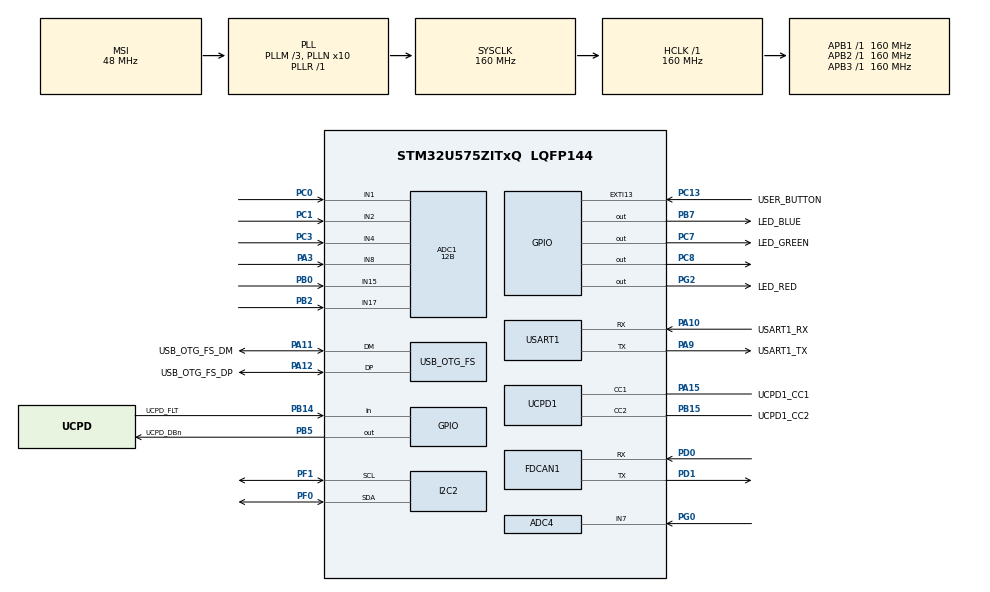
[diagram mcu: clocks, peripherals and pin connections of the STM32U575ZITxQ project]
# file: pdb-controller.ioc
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ADC1.EnableRegularConversion=DISABLE
ADC1.NbrOfConversion=1
ADC1.Resolution=ADC_RESOLUTION_12B
ADC1.master=1
ADC4.NbrOfConversion=1
ADC4.NbrOfConversionFlag=0
ADC4.SelectedChannel=ADC_CHANNEL_7
CORTEX_M33_NS.userName=CORTEX_M33
FDCAN1.AutoRetransmission=ENABLE
FDCAN1.CalculateBaudRateNominal=500000
FDCAN1.CalculateTimeBitNominal=2000
FDCAN1.CalculateTimeQuantumNominal=100.0
FDCAN1.DataPrescaler=1
FDCAN1.DataSyncJumpWidth=16
FDCAN1.DataTimeSeg1=23
FDCAN1.DataTimeSeg2=16
FDCAN1.ExtFiltersNbr=1
FDCAN1.FrameFormat=FDCAN_FRAME_FD_BRS
FDCAN1.NominalPrescaler=4
FDCAN1.NominalSyncJumpWidth=3
FDCAN1.NominalTimeSeg1=16
FDCAN1.NominalTimeSeg2=3
FDCAN1.StdFiltersNbr=1
I2C2.Timing=0x30909DEC
Mcu.Family=STM32U5
Mcu.Name=STM32U575ZITxQ
Mcu.Package=LQFP144
NVIC.FDCAN1_IT0_IRQn=true\:0\:0\:false\:false\:true\:true\:true\:true
NVIC.OTG_FS_IRQn=true\:0\:0\:false\:false\:true\:true\:true\:true
NVIC.PriorityGroup=NVIC_PRIORITYGROUP_3
NVIC.TIM7_IRQn=true\:0\:0\:false\:false\:true\:true\:true\:true
PA10.GPIO_Label=USART1_RX
PA10.GPIO_PuPd=GPIO_PULLDOWN
PA10.GPIO_Speed=GPIO_SPEED_FREQ_VERY_HIGH
PA10.Mode=Asynchronous
PA10.Signal=USART1_RX
PA11.GPIO_Label=USB_OTG_FS_DM
PA11.GPIO_Speed=GPIO_SPEED_FREQ_VERY_HIGH
PA11.Mode=Device_Only
PA11.Signal=USB_OTG_FS_DM
PA12.GPIO_Label=USB_OTG_FS_DP
PA12.GPIO_Speed=GPIO_SPEED_FREQ_VERY_HIGH
PA12.Mode=Device_Only
PA12.Signal=USB_OTG_FS_DP
PA13\ (JTMS/SWDIO).Mode=Trace_Asynchronous_SW
PA13\ (JTMS/SWDIO).Signal=DEBUG_JTMS-SWDIO
PA14\ (JTCK/SWCLK).Mode=Trace_Asynchronous_SW
PA14\ (JTCK/SWCLK).Signal=DEBUG_JTCK-SWCLK
PA15\ (JTDI).GPIO_Label=UCPD1_CC1
PA15\ (JTDI).Mode=Sink_AllSignals
PA15\ (JTDI).Signal=UCPD1_CC1
PA3.Mode=IN8-Single-Ended
PA3.Signal=ADC1_IN8
PA9.GPIO_Label=USART1_TX
PA9.GPIO_PuPd=GPIO_PULLDOWN
PA9.GPIO_Speed=GPIO_SPEED_FREQ_VERY_HIGH
PA9.Mode=Asynchronous
PA9.Signal=USART1_TX
PB0.Mode=IN15-Single-Ended
PB0.Signal=ADC1_IN15
PB14.GPIO_Label=UCPD_FLT
PB14.Signal=GPIO_Input
PB15.GPIO_Label=UCPD1_CC2
PB15.Mode=Sink_AllSignals
PB15.Signal=UCPD1_CC2
PB2.Mode=IN17-Single-Ended
PB2.Signal=ADC1_IN17
PB3\ (JTDO/TRACESWO).Mode=Trace_Asynchronous_SW
PB3\ (JTDO/TRACESWO).Signal=DEBUG_JTDO-SWO
PB5.GPIO_Label=UCPD_DBn
PB5.Signal=GPIO_Output
PB7.GPIO_Label=LED_BLUE
PB7.GPIO_ModeDefaultOutputPP=GPIO_MODE_OUTPUT_PP
PB7.GPIO_PuPd=GPIO_PULLUP
PB7.GPIO_Speed=GPIO_SPEED_FREQ_HIGH
PB7.Signal=GPIO_Output
PC0.Mode=IN1-Single-Ended
PC0.Signal=ADC1_IN1
PC1.Mode=IN2-Single-Ended
PC1.Signal=ADC1_IN2
PC13.GPIO_Label=USER_BUTTON
PC13.GPIO_ModeDefaultEXTI=GPIO_MODE_IT_FALLING
PC13.Signal=GPXTI13
PC14-OSC32_IN\ (PC14).Mode=LSE-External-Oscillator
PC14-OSC32_IN\ (PC14).Signal=RCC_OSC32_IN
PC15-OSC32_OUT\ (PC15).Mode=LSE-External-Oscillator
PC15-OSC32_OUT\ (PC15).Signal=RCC_OSC32_OUT
PC3.Mode=IN4-Single-Ended
PC3.Signal=ADC1_IN4
PC7.GPIO_Label=LED_GREEN
PC7.GPIO_PuPd=GPIO_PULLUP
PC7.GPIO_Speed=GPIO_SPEED_FREQ_HIGH
PC7.Signal=GPIO_Output
PC8.Signal=GPIO_Output
PD0.Mode=FDCAN_Activate
PD0.Signal=FDCAN1_RX
PD1.Mode=FDCAN_Activate
PD1.Signal=FDCAN1_TX
PF0.Mode=I2C
PF0.Signal=I2C2_SDA
PF1.Mode=I2C
PF1.Signal=I2C2_SCL
PG0.Mode=IN7
PG0.Signal=ADC4_IN7
PG2.GPIO_Label=LED_RED
PG2.GPIO_ModeDefaultOutputPP=GPIO_MODE_OUTPUT_PP
PG2.GPIO_PuPd=GPIO_PULLUP
PG2.GPIO_Speed=GPIO_SPEED_FREQ_HIGH
PG2.Signal=GPIO_Output
PWR.PowerMode=PWR_SMPS_SUPPLY
ProjectManager.HeapSize=0x200
ProjectManager.StackSize=0x400
ProjectManager.TargetToolchain=STM32CubeIDE
RCC.ADCFreq_Value=16000000
RCC.AHBFreq_Value=160000000
RCC.APB1Freq_Value=160000000
RCC.APB1TimFreq_Value=160000000
RCC.APB2Freq_Value=160000000
RCC.APB2TimFreq_Value=160000000
RCC.APB3Freq_Value=160000000
RCC.CortexFreq_Value=160000000
RCC.DACCLockSelectionVirtual=RCC_DAC1CLKSOURCE_LSI
RCC.EPOD_VALUE=48000000
RCC.HCLKFreq_Value=160000000
RCC.HSE_VALUE=16000000
RCC.HSI48_VALUE=48000000
RCC.HSI_VALUE=16000000
RCC.LSIDIV_VALUE=32000
RCC.MSIClockRange=RCC_MSIRANGE_0
RCC.MSI_VALUE=48000000
RCC.PLL1Q=4
RCC.PLL1R=1
RCC.PLLFRACN=0
RCC.PLLM=3
RCC.PLLN=10
RCC.SYSCLKFreq_VALUE=160000000
RCC.SYSCLKSource=RCC_SYSCLKSOURCE_PLLCLK
RCC.USBFreq_Value=48000000
RCC.VCOOutputFreq_Value=160000000
TIM7.PeriodNoDither=49999
TIM7.Prescaler=31999
USART1.VirtualMode-Asynchronous=VM_ASYNC
USB_OTG_FS.VirtualMode=Device_Only
VP_ADC1_Vref_Input.Mode=IN-Vrefint
VP_ICACHE_VS_ENABLE_ICACHE_MEMORY.Mode=Memoryregions
VP_ICACHE_VS_ICACHE.Mode=DirectMappedCache
VP_LPBAMQUEUE_VS_QUEUE.Mode=QUEUEMODE
VP_LPBAM_VS_SIG1.Mode=SmartRun
VP_LPBAM_VS_SIG4.Mode=LPDMA1
VP_MEMORYMAP_VS_MEMORYMAP.Mode=CurAppReg
VP_PWR_VS_DBSignals.Mode=DisableDeadBatterySignals
VP_PWR_VS_LPOM.Mode=PowerOptimisation
VP_PWR_VS_SECSignals.Mode=Security/Privilege
VP_PWR_Vdda.Mode=isolationVdda
VP_TIM7_VS_ClockSourceINT.Mode=Enable_Timer
board=NUCLEO-U575ZI-Q

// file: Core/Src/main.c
/* USER CODE BEGIN Header */
/**
  ******************************************************************************
  * @file           : main.c
  * @brief          : Main program body
  ******************************************************************************
  * @attention
  *
  * Copyright (c) 2025 STMicroelectronics.
  * All rights reserved.
  *
  * This software is licensed under terms that can be found in the LICENSE file
  * in the root directory of this software component.
  * If no LICENSE file comes with this software, it is provided AS-IS.
  *
  ******************************************************************************
  */
/* USER CODE END Header */
#include "main.h"

/* USER CODE BEGIN Includes */
#include <stdio.h>
#include <math.h>
#include <string.h>
#include "can.h"
/* USER CODE END Includes */

/* USER CODE BEGIN PTD */

// moving average struct
#define DELAY_LINE_SIZE 5
typedef struct {
    int16_t elements[DELAY_LINE_SIZE]; //circular buffer to store the most recent N readings
    uint8_t count;
    uint8_t  newestElement_idx;  //index of the newest element in the circular buffer
}delayLine;

typedef struct {
    ADC_HandleTypeDef *hadc;
    uint32_t channel;
} NTC_Config;

typedef struct {
	const char*label;
	int is_temp;
} ADC_Channel_Info ;

/* USER CODE END PTD */

/* USER CODE BEGIN PD */

#define NUM_SENSORS 11
#define VREF 3.3
#define ADC_RESOLUTION 4095.0
#define R_FIXED 10000.0
#define BETA 3950.0
#define T0 298.15 // 25°C in Kelvin
#define R0 10000.0 // Resistance at 25°C
#define temp_threshold 55.0
#define voltage_threshold 2.5
#define CAN_TX_TIME 1000 //in milliseconds
#define PDB_HEARTBEAT 0x130
/* USER CODE END PD */

ADC_HandleTypeDef hadc1;
ADC_HandleTypeDef hadc4;

FDCAN_HandleTypeDef hfdcan1;

I2C_HandleTypeDef hi2c2;

TIM_HandleTypeDef htim7;

UART_HandleTypeDef huart1;

PCD_HandleTypeDef hpcd_USB_OTG_FS;

/* USER CODE BEGIN PV */
NTC_Config ntc_sensors[NUM_SENSORS] = {
	{&hadc1, ADC_CHANNEL_8},   // PA_3 = ADC1_IN8 ADC Cell 2
	{&hadc1, ADC_CHANNEL_7},   // PA2 = ADC1_IN7 TEMP_PACK2
	{&hadc1, ADC_CHANNEL_4},  // PC3 = ADC1_IN4 Cell 3 ADC
	{&hadc1, ADC_CHANNEL_15},  // PB0 = ADC1_IN15 TEMP_PACKB/B
	{&hadc1, ADC_CHANNEL_2},  // PC1 = ADC1_IN2 TEMP_PACK 1 (T7 shares PC0 with T5, duplicate?)
	{&hadc1, ADC_CHANNEL_1},  //  PC0 = ADC1_IN1 ADC Cell 4
	{&hadc1, ADC_CHANNEL_17},  // PB_2 ADC1_IN17 ADC Cell 1
	{&hadc1, ADC_CHANNEL_6},   // PA1 = ADC1_IN2
	{&hadc1, ADC_CHANNEL_5},   // PA0 = ADC1_IN1
	{&hadc1, ADC_CHANNEL_16},   // PB1 = ADC1_IN16
	{&hadc4, ADC_CHANNEL_7},   // PG0 = ADC3_IN8 (ADC4)
};

ADC_Channel_Info channel_info[7] = {
    {"VC2_Cumulative",0},
    {"TempPack2",1},
    {"VC3_Cumulative",0},
    {"TempPack B/B",1},
    {"TempPack1",1},
    {"VC4_Cumulative",0},
    {"VC1_Cumulative",0},
};

volatile int restart_requested = 0;
/* USER CODE END PV */

void SystemClock_Config(void);
static void SystemPower_Config(void);
static void MX_GPIO_Init(void);
static void MX_ADC1_Init(void);
static void MX_ICACHE_Init(void);
static void MX_UCPD1_Init(void);
static void MX_USART1_UART_Init(void);
static void MX_USB_OTG_FS_PCD_Init(void);
static void MX_ADC4_Init(void);
static void MX_FDCAN1_Init(void);
static void MX_I2C2_Init(void);
static void MX_TIM7_Init(void);
/* USER CODE BEGIN PFP */

// moving avaerage function prototypes
void delayLine_Init(delayLine *dl);
void delayLine_addElement(delayLine *dl, int16_t newValue);
int16_t delayLine_MovingAverage(delayLine *dl, int32_t *accumulator, int16_t x);

#ifdef __GNUC__
/* With GCC/RAISONANCE, small printf (option LD Linker->Libraries->Small printf
   set to 'Yes') calls __io_putchar() */
#define PUTCHAR_PROTOTYPE int __io_putchar(int ch)
#else
#define PUTCHAR_PROTOTYPE int fputc(int ch, FILE *f)
#endif /* __GNUC__ */
/* USER CODE END PFP */

/* USER CODE BEGIN 0 */

static float ADC_Select_Channel(uint32_t channelNumber)
{
  ADC_ChannelConfTypeDef sConfig = {0};
  uint32_t raw;

  /**>RRE Configure ADC1 Channel */
  sConfig.Channel = (uint32_t)ntc_sensors[channelNumber - 1].channel;
  sConfig.Rank = ADC_REGULAR_RANK_1;
  sConfig.SamplingTime = ADC_SAMPLETIME_814CYCLES ;
  sConfig.SingleDiff = ADC_SINGLE_ENDED;
  sConfig.OffsetNumber = ADC_OFFSET_NONE;
  sConfig.Offset = 0;
  if (HAL_ADC_ConfigChannel(ntc_sensors[channelNumber - 1].hadc, &sConfig) != HAL_OK)
  {
    Error_Handler();
  }

  /**>RRE Perform Conversion */
  HAL_ADC_Start(ntc_sensors[channelNumber - 1].hadc);
  HAL_ADC_PollForConversion(ntc_sensors[channelNumber - 1].hadc, 1000);
  raw = HAL_ADC_GetValue(ntc_sensors[channelNumber - 1].hadc);
  HAL_ADC_Stop(ntc_sensors[channelNumber - 1].hadc);

      float v = (raw / ADC_RESOLUTION) * VREF;
      float r_ntc = (v * R_FIXED) / (VREF - v);
      float tempK = 1.0 / ((log(r_ntc / R0) / BETA) + (1.0 / T0));

      //printf("Raw: %lu, V: %.2fV, R_NTC: %.1fΩ, Temp: %.2f°C\r\n", raw, v, r_ntc, tempK);
      //return tempK - 273.15;
      if ((channelNumber == 2)||(channelNumber == 4)||(channelNumber == 5)) return tempK - 273.15; // 2 and 4 are TEMP values not ADC values
      else return v;
}

// moving average functions
void delayLine_Init(delayLine *dl)
{
    dl->newestElement_idx = 0;
    dl->count = 0;

    for (int i = 0; i < DELAY_LINE_SIZE; i++) {
        dl->elements[i] = 0;
    }
}

/*
 1-Find the slot that will be overwritten.
 2-Subtract its old value from the sum.
 3-Write the new value into that same slot.
 */

void delayLine_addElement(delayLine *dl, int16_t newValue)
{
    dl->newestElement_idx++;
    dl->newestElement_idx = dl->newestElement_idx % (DELAY_LINE_SIZE);
    dl->elements[dl->newestElement_idx] = newValue;
}

int16_t delayLine_MovingAverage(delayLine *dl, int32_t *accumulator, int16_t x)
{
    int oldest_idx = (dl->newestElement_idx + 1) % (DELAY_LINE_SIZE); // overflow check

    if (dl->count == DELAY_LINE_SIZE) {
        *accumulator -= dl->elements[oldest_idx];
    } else {
        dl->count++;
    }

    *accumulator += x;
    delayLine_addElement(dl, x);

    return *accumulator / dl->count;
}

/*
 * CUSTOM CAN FUNCTIONS
 */
// only thing different is the filters, need access to FIFO1 callback for one std ID

void CAN_Init_PDB(FDCAN_HandleTypeDef *hfdcan1)
{
	// Set frame 0x202 to be filtered to FIFO1
    FDCAN_FilterTypeDef f = {0};
    f.IdType       = FDCAN_STANDARD_ID;
    f.FilterIndex  = 0;
    f.FilterType   = FDCAN_FILTER_MASK;      // exact match using mask
    f.FilterConfig = FDCAN_FILTER_TO_RXFIFO1;
    f.FilterID1    = 0x202;                  // Only can frame sent to PDB
    f.FilterID2    = 0x7FF;                  // mask: match all 11 bits exactly

    if (HAL_FDCAN_ConfigFilter(hfdcan1, &f) != HAL_OK)
    {
        Error_Handler();
    }
    // Set extended IDs to be rejected (unused)
    FDCAN_FilterTypeDef fe = {0};
    fe.IdType       = FDCAN_EXTENDED_ID;
    fe.FilterIndex  = 0;
    fe.FilterType   = FDCAN_FILTER_RANGE_NO_EIDM;
    fe.FilterConfig = FDCAN_FILTER_REJECT;
    fe.FilterID1    = 0x00000000;
    fe.FilterID2    = 0x1FFFFFFF;

    if (HAL_FDCAN_ConfigFilter(hfdcan1, &fe) != HAL_OK)
    {
        Error_Handler();
    }
    /* Global filter: send non-matching frames to FIFO0 (same as global can lib) */
    if (HAL_FDCAN_ConfigGlobalFilter(hfdcan1, FDCAN_ACCEPT_IN_RX_FIFO0, FDCAN_ACCEPT_IN_RX_FIFO0, FDCAN_FILTER_REMOTE, FDCAN_FILTER_REMOTE) != HAL_OK)
    {
        Error_Handler();
    }

    // Start FDCAN
    if (HAL_FDCAN_Start(hfdcan1) != HAL_OK)
    {
        Error_Handler();
    }
}

/*
 * Custom FIFO1 Callback
 */
// immediately handles shutdown/restart commands
void HAL_FDCAN_RxFifo1Callback(FDCAN_HandleTypeDef *hfdcan, uint32_t RxFifo1ITs)
{
    if ((RxFifo1ITs & FDCAN_IT_RX_FIFO1_NEW_MESSAGE) == 0U)
        return;

    FDCAN_RxHeaderTypeDef rxh;
    uint8_t tmp[64];
    memset(tmp, 0, sizeof(tmp));

    uint8_t power_off = 0xF;

    if (HAL_FDCAN_GetRxMessage(hfdcan, FDCAN_RX_FIFO1, &rxh, tmp) != HAL_OK) {
        Error_Handler();
    }

    // theoretically because of the filter, FIFO1 should only contain STD 0x202 (but check anyway)
    if ((rxh.IdType == FDCAN_STANDARD_ID) && (rxh.Identifier == 0x202))
    {
    	if (tmp[0] == 0x0A) // shutdown
    	{
    		// printf("Shutdown command was received\r\n");, removed cuz i feel like we doin to much in isr
    		// to frame 0x003, 0xF -> shutdown

    		// power off everything
    		if( CAN_Transmit( 0x003, FDCAN_STANDARD_ID, FDCAN_DLC_BYTES_8, &power_off, hfdcan) != HAL_OK ) {
    			Error_Handler();
    		}

    		//set PC_8 to low
    	    HAL_GPIO_WritePin(GPIOC, GPIO_PIN_8, GPIO_PIN_SET); //PC_8 is the boot pin (inverted logic)
    	    // printf("PC_8 Pulled Low \r\n");
    	}
    	else if (tmp[0] == 0x14) // restart after 20s
    	{
    		// printf("restart command was received\r\n");
    		restart_requested = 1;
    	}

    }
}

void HAL_FDCAN_TxBufferCompleteCallback(FDCAN_HandleTypeDef *hfdcan, uint32_t BufferIndexes)
{
    printf("Tx buffer complete. BufferIndexes: 0x%lX\r\n", BufferIndexes);
}

/* USER CODE END 0 */

int main(void)
{

  /* MCU Configuration--------------------------------------------------------*/

  /* Reset of all peripherals, Initializes the Flash interface and the Systick. */
  HAL_Init();

  /* Configure the System Power */
  SystemPower_Config();

  /* Configure the system clock */
  SystemClock_Config();

  /* Initialize all configured peripherals */
  MX_GPIO_Init();
  MX_ADC1_Init();
  MX_ICACHE_Init();
  MX_UCPD1_Init();
  MX_USART1_UART_Init();
  MX_USB_OTG_FS_PCD_Init();
  MX_ADC4_Init();
  MX_FDCAN1_Init();
  MX_I2C2_Init();
  MX_TIM7_Init();
  /* USER CODE BEGIN 2 */
	  delayLine adc_filters[7];
	  int32_t adc_accumulators[7] = {0};

	  for (int i = 0; i < 7; i++) {
		  delayLine_Init(&adc_filters[i]);
	  }
	  /*
	   * I2C Variable Declarations & ADC Initialization
	   */

	  uint8_t I2C_buf[12];

	  // Address of ADC device on current sense board
	  uint16_t ADC_ADDR1 = 0x18 << 1; // 0x18, if J1 disconnected - STARBOARD
	  uint16_t ADC_ADDR2 = 0x1F << 1; // 0x1F, if J1 connected - PORT

	  I2C_buf[0] = 0x08; //opcode for single register write
	  // I2C MODE setup
	  I2C_buf[1] = 0x1c; // MODE SELECT register address
	  I2C_buf[2] = 0x04; // selecting MANUAL MODE W/ AUTO SEQUENCING

//	  if( HAL_I2C_Master_Transmit(&hi2c2,ADC_ADDR1,I2C_buf,3,HAL_MAX_DELAY) != HAL_OK ) {
//		  Error_Handler();
//	  }
//	  if( HAL_I2C_Master_Transmit(&hi2c2,ADC_ADDR2,I2C_buf,3,HAL_MAX_DELAY) != HAL_OK ) {
//		  Error_Handler();
//	  }

	  // I2C START SEQUENCE Bit
	  I2C_buf[1] = 0x1E; // START SEQ register
	  I2C_buf[2] = 0b1; // bit starts first conversion

//	  if( HAL_I2C_Master_Transmit(&hi2c2,ADC_ADDR1,I2C_buf,3,HAL_MAX_DELAY) != HAL_OK ) {
//		  Error_Handler();
//	  }
//	  if( HAL_I2C_Master_Transmit(&hi2c2,ADC_ADDR2,I2C_buf,3,HAL_MAX_DELAY) != HAL_OK ) {
//		  Error_Handler();
//	  }

	/*
	 * CAN Initialization
	 */
	CAN_Init(&hfdcan1, PDB_HEARTBEAT);
	if( HAL_FDCAN_Stop(&hfdcan1) != HAL_OK ) {
		Error_Handler();
	}
  	CAN_Init_PDB(&hfdcan1); // call custom init code w diff filters

  	/*
  	 * Temperature Sense Variable Initialization
  	 */
  	int count = 0;
  	float adc_readings[7] = {0}; //store all adc readings here
  	float vc[4] = {0};
  	int vc_index=0 ;
  	uint16_t individual_voltages[4] = {0};
  	int temp_back = 1 ; //flag to break the infinite loop in case we are back on
  	int voltage_back = 1; //flag to break the infinite loop in case we are back on
  	float cell_voltage[4] = {0};

  /* USER CODE END 2 */

  /* Infinite loop */
  while (1)
  {

    /* USER CODE BEGIN 3 */

	  vc_index = 0; // reset the value of the index

	  HAL_Delay(100);//0.1 SECONDS AS OF NOW

	  /*
	   * Boot pin logic
	   */
	  if (restart_requested) {
		  HAL_GPIO_WritePin(GPIOC, GPIO_PIN_8, GPIO_PIN_SET); //turn pin off (inverted logic)
		  printf("PC_8 Pulled Low\r\n");
	      for (int sec = 20; sec > 0; sec--) {
	          printf("Restarting in %d seconds...\r\n", sec);
	          HAL_Delay(1000);
	      }

	      HAL_GPIO_WritePin(GPIOC, GPIO_PIN_8, GPIO_PIN_RESET); //turn pin back on (inverted logic)
	      printf("PC_8 Pulled High\r\n");

	      restart_requested = 0;
	  }

	  //comment out the transmission to figure out how to receive
	  // CHANGED TO INITIALIZE TO 0s
	  uint8_t TxData1[24] = {0}; //the array that we use to send CAN
	  int byte_index = 0;

	  /*
	   * ADC For-loop Start
	   */
	  for(int i = 1; i <= 7; i++) {
		  // read the raw adc value
		  float adc_raw = ADC_Select_Channel(i);

		  int16_t adc_scaled;

		  if (channel_info[i - 1].is_temp) {
		      adc_scaled = (int16_t)(adc_raw * 100);
		  }
		  else {
		      adc_scaled = (int16_t)(adc_raw * 1000);
		  }

		  // calculate the moving average
		  int16_t adc_avg_scaled = delayLine_MovingAverage(
		      &adc_filters[i - 1],
		      &adc_accumulators[i - 1],
		      adc_scaled
		  );

		  float adc;

		  if (channel_info[i - 1].is_temp) {
		      adc = adc_avg_scaled / 100.0f;
		  }
		  else {
		      adc = adc_avg_scaled / 1000.0f;
		  }

		  ADC_Channel_Info info = channel_info[i-1];
		  adc_readings[i-1] = adc; // store the ADC value

		  int16_t encoded_val;

		  // Check Temperature Reading
		  if (info.is_temp) {
			  encoded_val = (int16_t)(adc * 100);  //to get rid of the decimal places (this gives us 4 hex digits)

			  // If temp is too high, shut off system and poll until regular conditions, then reboot
			  if (adc >= temp_threshold ) {
				  printf("%s temperature too high! %.2f°C CANT: %d CANT: %X \r\n", info.label, adc ,encoded_val , encoded_val);

				  // toggle pin PC_8, shuts off the entire system
				  HAL_GPIO_WritePin(GPIOC, GPIO_PIN_8, GPIO_PIN_SET); //PC_8 is the boot pin
		          temp_back = 0;

		          while (temp_back == 0 ) {
		        	  for (int y=20 ; y > 0 ; y-- ) {
		        		  printf("checking the temp in %d seconds" , y);
		        		  HAL_Delay(1000);
		        	  }

		        	  // read the pin again
		        	  adc = ADC_Select_Channel(i);
		        	  ADC_Channel_Info info = channel_info[i-1];
		        	  adc_readings[i-1] = adc; // store the adc value

		        	  if (adc <= temp_threshold ) {
		        	  		temp_back = 1; // break out of loop and continue
		        	  		printf("%s is below threshold \r\n", info.label);
		        	  		HAL_GPIO_WritePin(GPIOC, GPIO_PIN_8, GPIO_PIN_RESET); //PC_8 power back on
		        	  }
		          }

		      }
			  else { // temperature normal
				  printf("%s: %.2f°C CANT: %d \r\n", info.label, adc , encoded_val );
		      }

		  }
		  // Check voltage (not temp) reading
		  else {
			  encoded_val = (int16_t)(adc*1000*5);  // scaling to get 4 clean hex digits

			  // voltage reading too low
			  if (adc*5 <= voltage_threshold ) {
				  printf("%s below the recommended range! %.2f CANV: %d CANV: %X \r\n", info.label , 5*adc, encoded_val, encoded_val);
		        }
			  // regular voltage reading
		      else {
		            printf("%s: %.2fV CANV: %d CANV: %X\r\n", info.label, 5*adc ,encoded_val, encoded_val);
		      }
		  }

		  /*
		   * Build VC array
		   */

		  // Build vc[] array only for your voltage channels (1,3,6,7)
		  if ((i == 1) || (i == 3) || (i == 6) || (i == 7)) {
			  vc[vc_index++] = adc * 5;
		  }

		  // When you reach the last channel, compute individual voltages and print
		  if (i == 7) {
		               for (int j = 0; j < 4; j++) {
		                   printf("%.2f ", vc[j]);
		               }
		               printf("\r\n");

		               cell_voltage[1] = vc[0] - vc[3]; //cell 2
		               cell_voltage[2] = vc[1] - vc[0]; //cell 3
		               cell_voltage[3] = vc[2] - vc[1]; //cell 4
		               cell_voltage[0] = vc[3]; //cell 1

		               individual_voltages[0] = (vc[0] - vc[3]) * 1000;
		               individual_voltages[1] = (vc[1] - vc[0]) * 1000;
		               individual_voltages[2] = (vc[2] - vc[1]) * 1000;
		               individual_voltages[3] = (vc[3]) * 1000;

		               printf ("Cell1:%0.2f Cell2:%0.2f Cell3:%0.2f Cell4:%0.2f \r\n", cell_voltage[0] , cell_voltage[1] , cell_voltage[2] , cell_voltage[3] );

		               for (int k = 0; k < 4; k++) {

		            	   // Cell voltage too low
		            	   if (cell_voltage[k] <= voltage_threshold ) {
								// toggle pin PC_8 it shuts off the entire system
								printf("Cell %d voltage is below threshold %0.2f \r\n" , (k+1) , cell_voltage[k]);

								HAL_GPIO_WritePin(GPIOC, GPIO_PIN_8, GPIO_PIN_SET); //PC_8 is the boot pin

								voltage_back = 0;
								// wait 20 seconds and enter an infinite loop of saying the batteries are under the
								//operating voltage and check if you are back on
		            	   }

		            	   // Keep reading/computing cell voltage until back to normal
		            	   while(voltage_back == 0) {
		            	       // Wait 20 seconds
		            	       for (int o = 20; o > 0; o--) {
		            	           printf("checking status of cell%d in %d seconds again\r\n", k+1 , o);
		            	           HAL_Delay(1000);
		            	       }

		            	       vc_index = 0; // reset before refilling

		            	       // Re-read all 4 voltage channels: i = 1, 3, 6, 7
		            	       int voltage_channels[] = {1, 3, 6, 7};

		            	       for (int ch = 0; ch < 4; ch++) {
		            	           float refreshed_adc = ADC_Select_Channel(voltage_channels[ch]);
		            	           vc[vc_index++] = refreshed_adc * 5;
		            	       }

		            	       // Recompute cell voltages
		            	       cell_voltage[1] = vc[0] - vc[3]; //cell 2
		            	       cell_voltage[2] = vc[1] - vc[0]; //cell 3
		            	       cell_voltage[3] = vc[2] - vc[1]; //cell 4
		            	       cell_voltage[0] = vc[3];         //cell 1

		            	       // Update individual voltages
		            	       individual_voltages[0] = (vc[0] - vc[3]) * 1000;
		            	       individual_voltages[1] = (vc[1] - vc[0]) * 1000;
		            	       individual_voltages[2] = (vc[2] - vc[1]) * 1000;
		            	       individual_voltages[3] = vc[3] * 1000;

		            	       // Re-check threshold for that specific cell
		            	       if (cell_voltage[k] >= voltage_threshold) {
		            	           voltage_back = 1;
		            	           HAL_GPIO_WritePin(GPIOC, GPIO_PIN_8, GPIO_PIN_RESET); //turn pin back on
		            	           printf("Cell %d is back above threshold: %.2f\r\n", k+1, cell_voltage[k]);
		            	       }

		            	   }

		            	   for (int z=0 ; z<4 ; z++) {
		            		   printf("%f ", cell_voltage[z]);
		            	   }

		            	   printf("\r\n");
		               }
		  }
	  }

	  /*
	   * ADC For-loop end
	   */

	  /*
	   * Pack temp_values and individual_voltages into CAN Tx Buffer (TxData1)
	   */
	  int volt_index = 0;

	  for (int i = 1; i <= 7; i++) {
		  // encode values
		  int16_t encoded_val;

		  if (channel_info[i-1].is_temp) {
			  encoded_val = (int16_t)(adc_readings[i-1] * 100);
		  }
		  else {
              encoded_val = individual_voltages[volt_index++];
		  }

		  // Pack the encoded values into TxData1 (low byte first)
		  TxData1[byte_index++] = encoded_val & 0xFF;
		  TxData1[byte_index++] = (encoded_val >> 8) & 0xFF;
	  }

	  // Add two extra zero bytes
	  TxData1[byte_index++] = 0x00;
	  TxData1[byte_index++] = 0x00;

	  // Print TxData1 array
	  printf("\nTxData1 Array:\r\n");
	  for (int i = 0; i < 16; i++) {
		  printf("%X ", TxData1[i]);
	  }
	  printf("\r\n");

	  /*
	   * Current Sense I2C Receive & Calculations
	   */
	  // MPPT Board 1
	  //HAL_I2C_Master_Receive(&hi2c2,ADC_ADDR1,I2C_buf,4,HAL_MAX_DELAY); //reads 4 bytes of raw voltage data, 2 bytes from each mppt channel

	  // i2c buffer -> raw adc values from each mppt
	  uint16_t raw1 = ((uint16_t)I2C_buf[0] << 8 ) | I2C_buf[1];
	  uint16_t raw2 = ((uint16_t)I2C_buf[2] << 8 ) | I2C_buf[3];

	  // raw adc values -> original current values (x1000)
	  // conversion eq: (raw/2^16 *ref_V - offset) / scale * 1000
	  int16_t curr1 = (int16_t) ((raw1/65536.0f*3.3f - 0.5f)/0.2f*1000);
	  int16_t curr2 = (int16_t) ((raw2/65536.0f*3.3f - 0.5f)/0.2f*1000);

	  if ( curr1 < 0 ) curr1 = 0;
	  if ( curr2 < 0 ) curr2 = 0;

	  //store in Tx buffer (little endian)
	  TxData1[15] = ( curr1 >> 8 ) & 0x00FF; // MPPT 1_A
	  TxData1[14] = curr1 & 0x00FF;

	  TxData1[17] = ( curr2 >> 8 ) & 0x00FF; // MPPT 1_B
	  TxData1[16] = curr2 & 0x00FF;

	  // print to UART (just for debugging)
	  printf( "MPPT BOARD 1\n" );
	  printf("MPPT_1: I*1000  | CH0: %d, CH1: %d\r\n", curr1, curr2); // current * 1000
	  printf("MPPT_1: TxData  | %X_%X_%X_%X\r\n", TxData1[14], TxData1[15], TxData1[16], TxData1[17]); // tx buffer, exactly as it is sent

	  // MPPT Board 2
	  // same as above, just to different address & bytes

	  //HAL_I2C_Master_Receive(&hi2c2,ADC_ADDR2,I2C_buf,4,HAL_MAX_DELAY);

	  raw1 = ((uint16_t)I2C_buf[0] << 8 ) | I2C_buf[1];
	  raw2 = ((uint16_t)I2C_buf[2] << 8 ) | I2C_buf[3];

	  curr1 = (int16_t) ((raw1/65536.0f*3.3f - 0.5f)/0.2f*1000);
	  curr2 = (int16_t) ((raw2/65536.0f*3.3f - 0.5f)/0.2f*1000);

	  if ( curr1 < 0 ) curr1 = 0;
	  if ( curr2 < 0 ) curr2 = 0;

	  TxData1[19] = ( curr1 >> 8 ) & 0x00FF; // MPPT 2_A
	  TxData1[18] = curr1 & 0x00FF;

	  TxData1[21] = ( curr2 >> 8 ) & 0x00FF; // MPPT 2_B
	  TxData1[20] = curr2 & 0x00FF;

	  printf( "MPPT BOARD 2\n" );
	  printf("MPPT_2: I*1000  | CH0: %d, CH1: %d\r\n", curr1, curr2);
	  printf("MPPT_2: TxData  | %X_%X_%X_%X\r\n", TxData1[18], TxData1[19], TxData1[20], TxData1[21]);

	  /*
	   * Final CAN Transmission to RPI
	   */
	 if (CAN_Transmit(0x206, FDCAN_STANDARD_ID, FDCAN_DLC_BYTES_24, TxData1, &hfdcan1) != HAL_OK)
	 {
		 printf("HAL ERROR CODE: %lu\r\n", HAL_FDCAN_GetError(&hfdcan1));
		 printf("TS: %lu\r\n", HAL_GetTick());
		 printf("count: %d \r\n",count);
		 //Error_Handler();
	 }

	//  HAL_Delay(500); //changed this from 5000ms to this should be tested

	 count++;
	 printf("count: %d \r\n",count);
  }
  /* USER CODE END 3 */
}

void SystemClock_Config(void)
{
  RCC_OscInitTypeDef RCC_OscInitStruct = {0};
  RCC_ClkInitTypeDef RCC_ClkInitStruct = {0};

  /** Configure the main internal regulator output voltage
  */
  if (HAL_PWREx_ControlVoltageScaling(PWR_REGULATOR_VOLTAGE_SCALE1) != HAL_OK)
  {
    Error_Handler();
  }

  /** Initializes the CPU, AHB and APB buses clocks
  */
  RCC_OscInitStruct.OscillatorType = RCC_OSCILLATORTYPE_HSI48|RCC_OSCILLATORTYPE_HSI
                              |RCC_OSCILLATORTYPE_MSI;
  RCC_OscInitStruct.HSIState = RCC_HSI_ON;
  RCC_OscInitStruct.HSI48State = RCC_HSI48_ON;
  RCC_OscInitStruct.HSICalibrationValue = RCC_HSICALIBRATION_DEFAULT;
  RCC_OscInitStruct.MSIState = RCC_MSI_ON;
  RCC_OscInitStruct.MSICalibrationValue = RCC_MSICALIBRATION_DEFAULT;
  RCC_OscInitStruct.MSIClockRange = RCC_MSIRANGE_0;
  RCC_OscInitStruct.PLL.PLLState = RCC_PLL_ON;
  RCC_OscInitStruct.PLL.PLLSource = RCC_PLLSOURCE_MSI;
  RCC_OscInitStruct.PLL.PLLMBOOST = RCC_PLLMBOOST_DIV4;
  RCC_OscInitStruct.PLL.PLLM = 3;
  RCC_OscInitStruct.PLL.PLLN = 10;
  RCC_OscInitStruct.PLL.PLLP = 2;
  RCC_OscInitStruct.PLL.PLLQ = 4;
  RCC_OscInitStruct.PLL.PLLR = 1;
  RCC_OscInitStruct.PLL.PLLRGE = RCC_PLLVCIRANGE_1;
  RCC_OscInitStruct.PLL.PLLFRACN = 0;
  if (HAL_RCC_OscConfig(&RCC_OscInitStruct) != HAL_OK)
  {
    Error_Handler();
  }

  /** Initializes the CPU, AHB and APB buses clocks
  */
  RCC_ClkInitStruct.ClockType = RCC_CLOCKTYPE_HCLK|RCC_CLOCKTYPE_SYSCLK
                              |RCC_CLOCKTYPE_PCLK1|RCC_CLOCKTYPE_PCLK2
                              |RCC_CLOCKTYPE_PCLK3;
  RCC_ClkInitStruct.SYSCLKSource = RCC_SYSCLKSOURCE_PLLCLK;
  RCC_ClkInitStruct.AHBCLKDivider = RCC_SYSCLK_DIV1;
  RCC_ClkInitStruct.APB1CLKDivider = RCC_HCLK_DIV1;
  RCC_ClkInitStruct.APB2CLKDivider = RCC_HCLK_DIV1;
  RCC_ClkInitStruct.APB3CLKDivider = RCC_HCLK_DIV1;

  if (HAL_RCC_ClockConfig(&RCC_ClkInitStruct, FLASH_LATENCY_4) != HAL_OK)
  {
    Error_Handler();
  }
}

/**
  * @brief Power Configuration
  * @retval None
  */
static void SystemPower_Config(void)
{
  HAL_PWREx_EnableVddIO2();

  /*
   * Switch to SMPS regulator instead of LDO
   */
  if (HAL_PWREx_ConfigSupply(PWR_SMPS_SUPPLY) != HAL_OK)
  {
    Error_Handler();
  }
}

static void MX_ADC1_Init(void)
{

  /** Common config
  */
  hadc1.Instance = ADC1;
  hadc1.Init.ClockPrescaler = ADC_CLOCK_ASYNC_DIV1;
  hadc1.Init.Resolution = ADC_RESOLUTION_12B;
  hadc1.Init.GainCompensation = 0;
  hadc1.Init.ScanConvMode = ADC_SCAN_DISABLE;
  hadc1.Init.EOCSelection = ADC_EOC_SINGLE_CONV;
  hadc1.Init.LowPowerAutoWait = DISABLE;
  hadc1.Init.ContinuousConvMode = DISABLE;
  hadc1.Init.NbrOfConversion = 1;
  hadc1.Init.DiscontinuousConvMode = DISABLE;
  hadc1.Init.DMAContinuousRequests = DISABLE;
  hadc1.Init.TriggerFrequencyMode = ADC_TRIGGER_FREQ_HIGH;
  hadc1.Init.Overrun = ADC_OVR_DATA_PRESERVED;
  hadc1.Init.LeftBitShift = ADC_LEFTBITSHIFT_NONE;
  hadc1.Init.ConversionDataManagement = ADC_CONVERSIONDATA_DR;
  hadc1.Init.OversamplingMode = DISABLE;
  if (HAL_ADC_Init(&hadc1) != HAL_OK)
  {
    Error_Handler();
  }

}

static void MX_ADC4_Init(void)
{

  ADC_ChannelConfTypeDef sConfig = {0};

  /** Common config
  */
  hadc4.Instance = ADC4;
  hadc4.Init.ClockPrescaler = ADC_CLOCK_ASYNC_DIV1;
  hadc4.Init.Resolution = ADC_RESOLUTION_12B;
  hadc4.Init.DataAlign = ADC_DATAALIGN_RIGHT;
  hadc4.Init.ScanConvMode = ADC_SCAN_DIRECTION_FORWARD;
  hadc4.Init.EOCSelection = ADC_EOC_SINGLE_CONV;
  hadc4.Init.LowPowerAutoPowerOff = ADC_LOW_POWER_NONE;
  hadc4.Init.LowPowerAutoWait = DISABLE;
  hadc4.Init.ContinuousConvMode = DISABLE;
  hadc4.Init.NbrOfConversion = 1;
  hadc4.Init.DiscontinuousConvMode = DISABLE;
  hadc4.Init.ExternalTrigConv = ADC_SOFTWARE_START;
  hadc4.Init.ExternalTrigConvEdge = ADC_EXTERNALTRIGCONVEDGE_NONE;
  hadc4.Init.DMAContinuousRequests = DISABLE;
  hadc4.Init.TriggerFrequencyMode = ADC_TRIGGER_FREQ_LOW;
  hadc4.Init.Overrun = ADC_OVR_DATA_PRESERVED;
  hadc4.Init.SamplingTimeCommon1 = ADC4_SAMPLETIME_1CYCLE_5;
  hadc4.Init.SamplingTimeCommon2 = ADC4_SAMPLETIME_1CYCLE_5;
  hadc4.Init.OversamplingMode = DISABLE;
  if (HAL_ADC_Init(&hadc4) != HAL_OK)
  {
    Error_Handler();
  }

  /** Configure Regular Channel
  */
  sConfig.Channel = ADC_CHANNEL_7;
  sConfig.Rank = ADC4_RANK_CHANNEL_NUMBER;
  sConfig.SamplingTime = ADC4_SAMPLINGTIME_COMMON_1;
  sConfig.OffsetNumber = ADC_OFFSET_NONE;
  sConfig.Offset = 0;
  if (HAL_ADC_ConfigChannel(&hadc4, &sConfig) != HAL_OK)
  {
    Error_Handler();
  }

}

static void MX_FDCAN1_Init(void)
{

  hfdcan1.Instance = FDCAN1;
  hfdcan1.Init.ClockDivider = FDCAN_CLOCK_DIV1;
  hfdcan1.Init.FrameFormat = FDCAN_FRAME_FD_BRS;
  hfdcan1.Init.Mode = FDCAN_MODE_NORMAL;
  hfdcan1.Init.AutoRetransmission = ENABLE;
  hfdcan1.Init.TransmitPause = DISABLE;
  hfdcan1.Init.ProtocolException = DISABLE;
  hfdcan1.Init.NominalPrescaler = 4;
  hfdcan1.Init.NominalSyncJumpWidth = 3;
  hfdcan1.Init.NominalTimeSeg1 = 16;
  hfdcan1.Init.NominalTimeSeg2 = 3;
  hfdcan1.Init.DataPrescaler = 1;
  hfdcan1.Init.DataSyncJumpWidth = 16;
  hfdcan1.Init.DataTimeSeg1 = 23;
  hfdcan1.Init.DataTimeSeg2 = 16;
  hfdcan1.Init.StdFiltersNbr = 1;
  hfdcan1.Init.ExtFiltersNbr = 1;
  hfdcan1.Init.TxFifoQueueMode = FDCAN_TX_FIFO_OPERATION;
  if (HAL_FDCAN_Init(&hfdcan1) != HAL_OK)
  {
    Error_Handler();
  }

}

static void MX_I2C2_Init(void)
{

  hi2c2.Instance = I2C2;
  hi2c2.Init.Timing = 0x30909DEC;
  hi2c2.Init.OwnAddress1 = 0;
  hi2c2.Init.AddressingMode = I2C_ADDRESSINGMODE_7BIT;
  hi2c2.Init.DualAddressMode = I2C_DUALADDRESS_DISABLE;
  hi2c2.Init.OwnAddress2 = 0;
  hi2c2.Init.OwnAddress2Masks = I2C_OA2_NOMASK;
  hi2c2.Init.GeneralCallMode = I2C_GENERALCALL_DISABLE;
  hi2c2.Init.NoStretchMode = I2C_NOSTRETCH_DISABLE;
  if (HAL_I2C_Init(&hi2c2) != HAL_OK)
  {
    Error_Handler();
  }

  /** Configure Analogue filter
  */
  if (HAL_I2CEx_ConfigAnalogFilter(&hi2c2, I2C_ANALOGFILTER_ENABLE) != HAL_OK)
  {
    Error_Handler();
  }

  /** Configure Digital filter
  */
  if (HAL_I2CEx_ConfigDigitalFilter(&hi2c2, 0) != HAL_OK)
  {
    Error_Handler();
  }

}

static void MX_ICACHE_Init(void)
{

  /** Enable instruction cache in 1-way (direct mapped cache)
  */
  if (HAL_ICACHE_ConfigAssociativityMode(ICACHE_1WAY) != HAL_OK)
  {
    Error_Handler();
  }
  if (HAL_ICACHE_Enable() != HAL_OK)
  {
    Error_Handler();
  }

}

static void MX_TIM7_Init(void)
{

  TIM_MasterConfigTypeDef sMasterConfig = {0};

  htim7.Instance = TIM7;
  htim7.Init.Prescaler = 31999;
  htim7.Init.CounterMode = TIM_COUNTERMODE_UP;
  htim7.Init.Period = 49999;
  htim7.Init.AutoReloadPreload = TIM_AUTORELOAD_PRELOAD_DISABLE;
  if (HAL_TIM_Base_Init(&htim7) != HAL_OK)
  {
    Error_Handler();
  }
  sMasterConfig.MasterOutputTrigger = TIM_TRGO_RESET;
  sMasterConfig.MasterSlaveMode = TIM_MASTERSLAVEMODE_DISABLE;
  if (HAL_TIMEx_MasterConfigSynchronization(&htim7, &sMasterConfig) != HAL_OK)
  {
    Error_Handler();
  }

}

static void MX_UCPD1_Init(void)
{

  LL_GPIO_InitTypeDef GPIO_InitStruct = {0};

  /* Peripheral clock enable */
  LL_APB1_GRP2_EnableClock(LL_APB1_GRP2_PERIPH_UCPD1);

  LL_AHB2_GRP1_EnableClock(LL_AHB2_GRP1_PERIPH_GPIOB);
  LL_AHB2_GRP1_EnableClock(LL_AHB2_GRP1_PERIPH_GPIOA);
  /**UCPD1 GPIO Configuration
  PB15   ------> UCPD1_CC2
  PA15 (JTDI)   ------> UCPD1_CC1
  */
  GPIO_InitStruct.Pin = LL_GPIO_PIN_15;
  GPIO_InitStruct.Mode = LL_GPIO_MODE_ANALOG;
  GPIO_InitStruct.Pull = LL_GPIO_PULL_NO;
  LL_GPIO_Init(GPIOB, &GPIO_InitStruct);

  GPIO_InitStruct.Pin = LL_GPIO_PIN_15;
  GPIO_InitStruct.Mode = LL_GPIO_MODE_ANALOG;
  GPIO_InitStruct.Pull = LL_GPIO_PULL_NO;
  LL_GPIO_Init(GPIOA, &GPIO_InitStruct);

}

static void MX_USART1_UART_Init(void)
{

  huart1.Instance = USART1;
  huart1.Init.BaudRate = 115200;
  huart1.Init.WordLength = UART_WORDLENGTH_8B;
  huart1.Init.StopBits = UART_STOPBITS_1;
  huart1.Init.Parity = UART_PARITY_NONE;
  huart1.Init.Mode = UART_MODE_TX_RX;
  huart1.Init.HwFlowCtl = UART_HWCONTROL_NONE;
  huart1.Init.OverSampling = UART_OVERSAMPLING_16;
  huart1.Init.OneBitSampling = UART_ONE_BIT_SAMPLE_DISABLE;
  huart1.Init.ClockPrescaler = UART_PRESCALER_DIV1;
  huart1.AdvancedInit.AdvFeatureInit = UART_ADVFEATURE_NO_INIT;
  if (HAL_UART_Init(&huart1) != HAL_OK)
  {
    Error_Handler();
  }
  if (HAL_UARTEx_SetTxFifoThreshold(&huart1, UART_TXFIFO_THRESHOLD_1_8) != HAL_OK)
  {
    Error_Handler();
  }
  if (HAL_UARTEx_SetRxFifoThreshold(&huart1, UART_RXFIFO_THRESHOLD_1_8) != HAL_OK)
  {
    Error_Handler();
  }
  if (HAL_UARTEx_DisableFifoMode(&huart1) != HAL_OK)
  {
    Error_Handler();
  }

}

static void MX_USB_OTG_FS_PCD_Init(void)
{

  hpcd_USB_OTG_FS.Instance = USB_OTG_FS;
  hpcd_USB_OTG_FS.Init.dev_endpoints = 6;
  hpcd_USB_OTG_FS.Init.speed = PCD_SPEED_FULL;
  hpcd_USB_OTG_FS.Init.phy_itface = PCD_PHY_EMBEDDED;
  hpcd_USB_OTG_FS.Init.Sof_enable = DISABLE;
  hpcd_USB_OTG_FS.Init.low_power_enable = DISABLE;
  hpcd_USB_OTG_FS.Init.lpm_enable = DISABLE;
  hpcd_USB_OTG_FS.Init.battery_charging_enable = DISABLE;
  hpcd_USB_OTG_FS.Init.use_dedicated_ep1 = DISABLE;
  hpcd_USB_OTG_FS.Init.vbus_sensing_enable = DISABLE;
  hpcd_USB_OTG_FS.Init.dma_enable = DISABLE;
  if (HAL_PCD_Init(&hpcd_USB_OTG_FS) != HAL_OK)
  {
    Error_Handler();
  }

}

static void MX_GPIO_Init(void)
{
  GPIO_InitTypeDef GPIO_InitStruct = {0};

  /* GPIO Ports Clock Enable */
  __HAL_RCC_GPIOC_CLK_ENABLE();
  __HAL_RCC_GPIOF_CLK_ENABLE();
  __HAL_RCC_GPIOA_CLK_ENABLE();
  __HAL_RCC_GPIOB_CLK_ENABLE();
  __HAL_RCC_GPIOG_CLK_ENABLE();
  __HAL_RCC_GPIOD_CLK_ENABLE();

  /*Configure GPIO pin Output Level */
  HAL_GPIO_WritePin(LED_RED_GPIO_Port, LED_RED_Pin, GPIO_PIN_RESET);

  /*Configure GPIO pin Output Level */
  HAL_GPIO_WritePin(GPIOC, LED_GREEN_Pin|GPIO_PIN_8, GPIO_PIN_RESET);

  /*Configure GPIO pin Output Level */
  HAL_GPIO_WritePin(GPIOB, UCPD_DBn_Pin|LED_BLUE_Pin, GPIO_PIN_RESET);

  /*Configure GPIO pin : USER_BUTTON_Pin */
  GPIO_InitStruct.Pin = USER_BUTTON_Pin;
  GPIO_InitStruct.Mode = GPIO_MODE_IT_FALLING;
  GPIO_InitStruct.Pull = GPIO_NOPULL;
  HAL_GPIO_Init(USER_BUTTON_GPIO_Port, &GPIO_InitStruct);

  /*Configure GPIO pin : UCPD_FLT_Pin */
  GPIO_InitStruct.Pin = UCPD_FLT_Pin;
  GPIO_InitStruct.Mode = GPIO_MODE_INPUT;
  GPIO_InitStruct.Pull = GPIO_NOPULL;
  HAL_GPIO_Init(UCPD_FLT_GPIO_Port, &GPIO_InitStruct);

  /*Configure GPIO pin : LED_RED_Pin */
  GPIO_InitStruct.Pin = LED_RED_Pin;
  GPIO_InitStruct.Mode = GPIO_MODE_OUTPUT_PP;
  GPIO_InitStruct.Pull = GPIO_PULLUP;
  GPIO_InitStruct.Speed = GPIO_SPEED_FREQ_HIGH;
  HAL_GPIO_Init(LED_RED_GPIO_Port, &GPIO_InitStruct);

  /*Configure GPIO pin : LED_GREEN_Pin */
  GPIO_InitStruct.Pin = LED_GREEN_Pin;
  GPIO_InitStruct.Mode = GPIO_MODE_OUTPUT_PP;
  GPIO_InitStruct.Pull = GPIO_PULLUP;
  GPIO_InitStruct.Speed = GPIO_SPEED_FREQ_HIGH;
  HAL_GPIO_Init(LED_GREEN_GPIO_Port, &GPIO_InitStruct);

  /*Configure GPIO pin : PC8 */
  GPIO_InitStruct.Pin = GPIO_PIN_8;
  GPIO_InitStruct.Mode = GPIO_MODE_OUTPUT_PP;
  GPIO_InitStruct.Pull = GPIO_NOPULL;
  GPIO_InitStruct.Speed = GPIO_SPEED_FREQ_LOW;
  HAL_GPIO_Init(GPIOC, &GPIO_InitStruct);

  /*Configure GPIO pin : UCPD_DBn_Pin */
  GPIO_InitStruct.Pin = UCPD_DBn_Pin;
  GPIO_InitStruct.Mode = GPIO_MODE_OUTPUT_PP;
  GPIO_InitStruct.Pull = GPIO_NOPULL;
  GPIO_InitStruct.Speed = GPIO_SPEED_FREQ_LOW;
  HAL_GPIO_Init(UCPD_DBn_GPIO_Port, &GPIO_InitStruct);

  /*Configure GPIO pin : LED_BLUE_Pin */
  GPIO_InitStruct.Pin = LED_BLUE_Pin;
  GPIO_InitStruct.Mode = GPIO_MODE_OUTPUT_PP;
  GPIO_InitStruct.Pull = GPIO_PULLUP;
  GPIO_InitStruct.Speed = GPIO_SPEED_FREQ_HIGH;
  HAL_GPIO_Init(LED_BLUE_GPIO_Port, &GPIO_InitStruct);

}

/* USER CODE BEGIN 4 */
PUTCHAR_PROTOTYPE
{
  /* Place your implementation of fputc here */
  /* e.g. write a character to the USART1 and Loop until the end of transmission */
  HAL_UART_Transmit(&huart1, (uint8_t *)&ch, 1, 0xFFFF);

  return ch;
}
/* USER CODE END 4 */

void Error_Handler(void)
{
  /* USER CODE BEGIN Error_Handler_Debug */
  /* User can add his own implementation to report the HAL error return state */
  __disable_irq();
  NVIC_SystemReset();
  while (1)
  {
  }
  /* USER CODE END Error_Handler_Debug */
}
